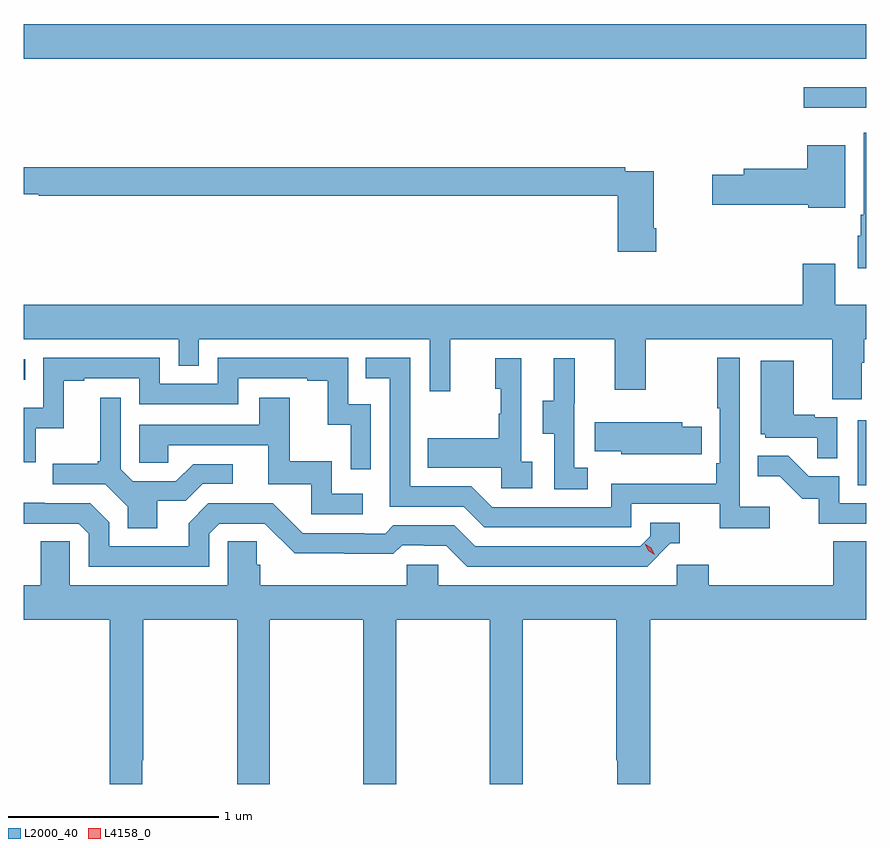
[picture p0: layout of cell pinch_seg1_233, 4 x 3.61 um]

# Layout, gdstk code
import gdstk
lib = gdstk.Library(unit=1e-6, precision=1e-09)
def R(c, l, rs):  # rectangles x0, y0, x1, y1
    for r in rs: c.add(gdstk.rectangle(r[:2], r[2:], *l))
def P(c, l, *ps):  # polygons
    for p in ps: c.add(gdstk.Polygon(p, *l))
L2000_40 = (2000, 40)
L4158_0 = (4158, 0)

pinch_seg1_233 = lib.new_cell('pinch_seg1_233')
R(pinch_seg1_233, L2000_40, [(948.578,568.356,948.618,568.663), (944.618,568.856,944.627,568.953), (948.321,570.147,948.618,570.244), (944.618,570.38,948.618,570.544)])
P(pinch_seg1_233, L2000_40, [(948.618,570.028),(948.605,570.028),(948.605,569.638),(948.59,569.638),(948.59,569.538),(948.578,569.538),(948.578,569.384),(948.618,569.384)],
  [(948.517,569.968),(948.338,569.968),(948.338,569.858),(948.035,569.858),(948.035,569.828),(947.886,569.828),(947.886,569.686),(948.342,569.686),(948.342,569.672),(948.517,569.672)],
  [(947.621,569.575),(947.608,569.575),(947.608,569.844),(947.474,569.844),(947.474,569.864),(944.618,569.864),(944.618,569.736),(944.69,569.736),(944.69,569.728),(947.438,569.728),(947.438,569.463),(947.621,569.463)],
  [(948.595,568.936),(948.608,568.936),(948.608,569.048),(948.618,569.048),(948.618,569.212),(948.469,569.212),(948.469,569.407),(948.317,569.407),(948.317,569.212),(944.618,569.212),(944.618,569.048),(945.354,569.048),(945.354,568.921),(945.45,568.921),(945.45,569.048),(946.545,569.048),(946.545,568.8),(946.643,568.8),(946.643,569.048),(947.423,569.048),(947.423,568.809),(947.571,568.809),(947.571,569.048),(948.455,569.048),(948.455,568.762),(948.595,568.762)],
  [(948.16,568.252),(948.018,568.252),(948.018,568.96),(947.91,568.96),(947.91,568.72),(947.922,568.72),(947.922,568.459),(947.905,568.459),(947.905,568.363),(947.406,568.363),(947.406,568.251),(946.842,568.251),(946.743,568.35),(946.452,568.35),(946.452,568.959),(946.243,568.959),(946.243,568.863),(946.356,568.863),(946.356,568.254),(946.706,568.254),(946.805,568.155),(947.502,568.155),(947.502,568.266),(947.921,568.266),(947.921,568.15),(948.16,568.15)],
  [(946.266,568.74),(946.158,568.74),(946.158,568.959),(945.54,568.959),(945.54,568.836),(945.264,568.836),(945.264,568.959),(944.712,568.959),(944.712,568.723),(944.618,568.723),(944.618,568.464),(944.676,568.464),(944.676,568.625),(944.809,568.625),(944.809,568.851),(944.905,568.851),(944.905,568.863),(945.168,568.863),(945.168,568.74),(945.636,568.74),(945.636,568.863),(945.965,568.863),(945.965,568.851),(946.061,568.851),(946.061,568.643),(946.17,568.643),(946.17,568.431),(946.266,568.431)],
  [(947.296,568.439),(947.232,568.439),(947.232,568.743),(947.234,568.743),(947.234,568.957),(947.135,568.957),(947.135,568.755),(947.081,568.755),(947.081,568.6),(947.136,568.6),(947.136,568.336),(947.296,568.336)],
  [(947.032,568.466),(946.98,568.466),(946.98,568.957),(946.856,568.957),(946.856,568.812),(946.882,568.812),(946.882,568.694),(946.872,568.694),(946.872,568.579),(946.537,568.579),(946.537,568.439),(946.884,568.439),(946.884,568.341),(947.032,568.341)],
  [(948.48,568.677),(948.374,568.677),(948.374,568.69),(948.274,568.69),(948.274,568.945),(948.116,568.945),(948.116,568.596),(948.138,568.596),(948.138,568.581),(948.385,568.581),(948.385,568.483),(948.48,568.483)],
  [(945.253,568.282),(945.388,568.282),(945.468,568.362),(945.61,568.362),(945.61,568.455),(945.422,568.455),(945.341,568.374),(945.135,568.374),(945.078,568.431),(945.078,568.771),(944.981,568.771),(944.981,568.468),(944.97,568.468),(944.97,568.456),(944.757,568.456),(944.757,568.359),(945.006,568.359),(945.113,568.252),(945.113,568.15),(945.253,568.15)],
  [(946.228,568.314),(946.08,568.314),(946.08,568.468),(945.881,568.468),(945.881,568.771),(945.737,568.771),(945.737,568.641),(945.168,568.641),(945.168,568.461),(945.305,568.461),(945.305,568.545),(945.779,568.545),(945.779,568.359),(945.984,568.359),(945.984,568.218),(946.228,568.218)],
  [(947.726,568.503),(947.837,568.503),(947.837,568.632),(947.743,568.632),(947.743,568.654),(947.329,568.654),(947.329,568.517),(947.454,568.517),(947.454,568.502),(947.726,568.502)],
  [(948.618,568.269),(948.489,568.269),(948.489,568.398),(948.345,568.398),(948.247,568.496),(948.103,568.496),(948.103,568.397),(948.207,568.397),(948.314,568.29),(948.391,568.29),(948.391,568.173),(948.618,568.173)],
  [(945.498,568.125),(945.546,568.173),(945.762,568.173),(945.904,568.031),(946.14,568.031),(946.14,568.029),(946.373,568.029),(946.415,568.071),(946.518,568.071),(946.518,568.068),(946.625,568.068),(946.724,567.969),(947.577,567.969),(947.688,568.08),(947.731,568.08),(947.731,568.176),(947.592,568.176),(947.592,568.113),(947.544,568.065),(946.761,568.065),(946.662,568.164),(946.373,568.164),(946.334,568.125),(946.235,568.125),(946.235,568.128),(945.942,568.128),(945.801,568.269),(945.495,568.269),(945.401,568.175),(945.401,568.065),(945.024,568.065),(945.024,568.179),(944.934,568.269),(944.718,568.269),(944.718,568.271),(944.618,568.271),(944.618,568.173),(944.88,568.173),(944.928,568.125),(944.928,567.969),(945.498,567.969)],
  [(945.181,567.049),(945.186,567.049),(945.186,567.716),(945.631,567.716),(945.631,566.937),(945.786,566.937),(945.786,567.716),(946.231,567.716),(946.231,566.937),(946.386,566.937),(946.386,567.716),(946.831,567.716),(946.831,566.937),(946.986,566.937),(946.986,567.716),(947.431,567.716),(947.431,567.049),(947.435,567.049),(947.435,566.937),(947.591,566.937),(947.591,567.716),(948.618,567.716),(948.618,568.088),(948.461,568.088),(948.461,567.88),(947.87,567.88),(947.87,567.978),(947.718,567.978),(947.718,567.88),(946.587,567.88),(946.587,567.978),(946.437,567.978),(946.437,567.88),(945.74,567.88),(945.74,567.978),(945.725,567.978),(945.725,568.088),(945.588,568.088),(945.588,567.88),(944.838,567.88),(944.838,568.088),(944.699,568.088),(944.699,567.88),(944.618,567.88),(944.618,567.716),(945.026,567.716),(945.026,566.937),(945.181,566.937)])
P(pinch_seg1_233, L4158_0, [(947.613,568.025),(947.583,568.045),(947.567,568.078),(947.567,568.078),(947.567,568.078),(947.598,568.058),(947.613,568.026),(947.613,568.025)])

lib.write_gds('pinch_seg1_233.gds')
